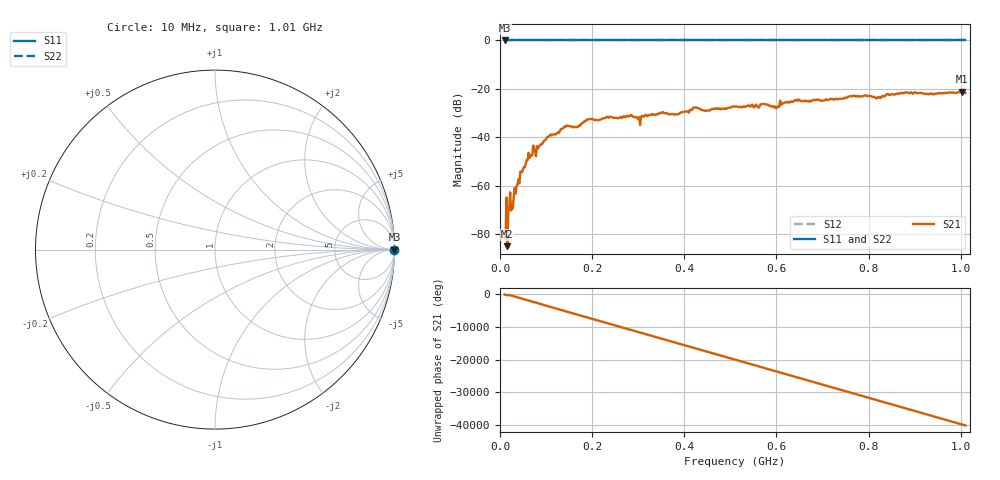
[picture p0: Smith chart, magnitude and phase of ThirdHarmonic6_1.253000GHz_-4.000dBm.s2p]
! 8/16/2025 1:24:25 PM
! C:\ANRITSUVNA\TEMP\TEMP.S2P
! CHANNEL.1
! TR.MEASUREMENT
! RAW.DATA
! RF.CORRECTION.OFF
! AVERAGING.OFF
! IF.BANDWIDTH: 5KHZ
! SWEEPTYPE:  FREQ.SWEEP(Linear)
! Reference Plane Port Info
! PORT:  PORT1  PORT2
! DISTANCE:  0  m  0  m
! TIME:  0  s  0  s
! PHASE.OFFSET:  0  deg.  0  deg.
! LOSS:  0  dB  0  dB
! REF.LOSS:  0  dB  0  dB
! REF.FREQ:  0  Hz  0  Hz
! Power Info
! POWER:  -20  dBm  -20  dBm
! EFF.POWER:  -20  dBm  -20  dBm
! SOURCE.ATTEN:  0  dB  0  dB
! TEST.ATTEN:  0  dB  0  dB
# GHZ S RI R 50.0
! FREQ.GHZ  S11RE  S11IM  S21RE  S21IM  S12RE  S12IM  S22RE  S22IM
!; PortSelection: Port_12
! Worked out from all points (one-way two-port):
!   501 points, 10 MHz to 1.01 GHz, reference 50 ohm
!   highest |S21| = -21.11 dB at 1.002 GHz (marker M1); lowest = -85.0 dB at 16 MHz (marker M2)
!   lowest |S11| = 0.0 dB at 10 MHz (marker M3)
!   |S11| at or under -10 dB: nowhere
!   |S22| runs from 0.0 to 0.0 dB; largest |S21 - S12| = 1.1
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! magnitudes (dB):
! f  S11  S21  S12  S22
! 10 MHz  0.0  -81.3  0.0  0.0
! 16 MHz  0.0  -85.0  0.0  0.0
! 18 MHz  0.0  -70.8  0.0  0.0
! 20 MHz  0.0  -69.9  0.0  0.0
! 28 MHz  0.0  -69.3  0.0  0.0
! 36 MHz  0.0  -60.0  0.0  0.0
! 48 MHz  0.0  -54.4  0.0  0.0
! 70 MHz  0.0  -47.5  0.0  0.0
! 106 MHz  0.0  -39.6  0.0  0.0
! 142 MHz  0.0  -35.6  0.0  0.0
! 178 MHz  0.0  -34.2  0.0  0.0
! 196 MHz  0.0  -32.4  0.0  0.0
! 284 MHz  0.0  -30.8  0.0  0.0
! 302 MHz  0.0  -31.7  0.0  0.0
! 344 MHz  0.0  -30.5  0.0  0.0
! 510 MHz  0.0  -27.3  0.0  0.0
! 602 MHz  0.0  -27.5  0.0  0.0
! 644 MHz  0.0  -24.8  0.0  0.0
! 678 MHz  0.0  -24.8  0.0  0.0
! 844 MHz  0.0  -22.5  0.0  0.0
! 1.002 GHz  0.0  -21.1  0.0  0.0
! 1.01 GHz  0.0  -21.7  0.0  0.0
